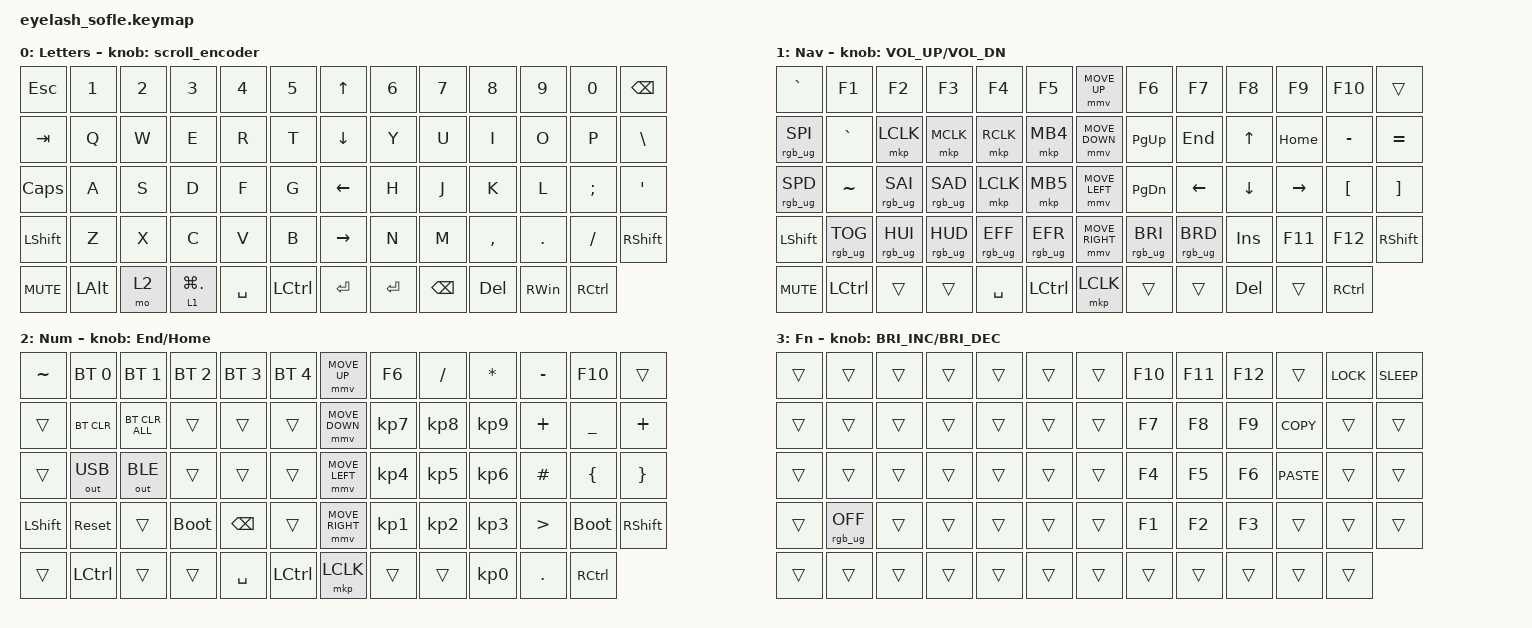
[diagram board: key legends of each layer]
#define ZMK_POINTING_DEFAULT_MOVE_VAL 1200  // 600
#define ZMK_POINTING_DEFAULT_SCRL_VAL 25   // 10

#include <input/processors.dtsi>
#include <zephyr/dt-bindings/input/input-event-codes.h>
#include <behaviors.dtsi>
#include <dt-bindings/zmk/bt.h>
#include <dt-bindings/zmk/keys.h>
#include <dt-bindings/zmk/outputs.h>
#include <dt-bindings/zmk/pointing.h>
#include <dt-bindings/zmk/rgb.h>

&mmv_input_listener { input-processors = <&zip_xy_scaler 2 1>; };

&msc_input_listener { input-processors = <&zip_scroll_scaler 2 1>; };

&msc {
    acceleration-exponent = <1>;      // 0
    time-to-max-speed-ms = <100>;       // 300
    delay-ms = <0>;                   // 0
};

&mmv {
    time-to-max-speed-ms = <500>;
    acceleration-exponent = <1>;
    trigger-period-ms = <16>;
};

/ {
    scroll_encoder: scroll_encoder {
        compatible = "zmk,behavior-sensor-rotate";
        #sensor-binding-cells = <0>;
        bindings = <&msc SCRL_DOWN>, <&msc SCRL_UP>;

        tap-ms = <100>;
    };

    behaviors {
    };

    combos {
        compatible = "zmk,combos";

        layer3 {
            bindings = <&mo 3>;
            key-positions = <54 55>;
        };
    };

    keymap {
        compatible = "zmk,keymap";

        Base {
            bindings = <
&kp ESC     &kp N1        &kp N2  &kp N3            &kp N4     &kp N5              &kp UP_ARROW     &kp N6     &kp N7         &kp N8      &kp N9         &kp N0             &kp BACKSPACE
&kp TAB     &kp Q         &kp W   &kp E             &kp R      &kp T               &kp DOWN_ARROW   &kp Y      &kp U          &kp I       &kp O          &kp P              &kp BSLH
&kp CAPS    &kp A         &kp S   &kp D             &kp F      &kp G               &kp LEFT_ARROW   &kp H      &kp J          &kp K       &kp L          &kp SEMICOLON      &kp APOS
&kp LSHFT   &kp Z         &kp X   &kp C             &kp V      &kp B               &kp RIGHT_ARROW  &kp N      &kp M          &kp COMMA   &kp DOT        &kp FSLH           &kp RIGHT_SHIFT
&kp C_MUTE  &kp LEFT_ALT  &mo 2   &lt 1 LG(PERIOD)  &kp SPACE  &kp LEFT_CONTROL    &kp ENTER        &kp ENTER  &kp BACKSPACE  &kp DELETE  &kp RIGHT_WIN  &kp RIGHT_CONTROL
            >;

            sensor-bindings = <&scroll_encoder>;
            display-name = "Letters";
        };

        Nav {
            bindings = <
&kp GRAVE        &kp F1            &kp F2           &kp F3           &kp F4           &kp F5              &mmv MOVE_UP     &kp F6           &kp F7           &kp F8      &kp F9     &kp F10            &trans
&rgb_ug RGB_SPI  &kp GRAVE         &mkp LCLK        &mkp MCLK        &mkp RCLK        &mkp MB4            &mmv MOVE_DOWN   &kp PG_UP        &kp END          &kp UP      &kp HOME   &kp MINUS          &kp EQUAL
&rgb_ug RGB_SPD  &kp TILDE         &rgb_ug RGB_SAI  &rgb_ug RGB_SAD  &mkp LCLK        &mkp MB5            &mmv MOVE_LEFT   &kp PG_DN        &kp LEFT         &kp DOWN    &kp RIGHT  &kp LEFT_BRACKET   &kp RIGHT_BRACKET
&kp LEFT_SHIFT   &rgb_ug RGB_TOG   &rgb_ug RGB_HUI  &rgb_ug RGB_HUD  &rgb_ug RGB_EFF  &rgb_ug RGB_EFR     &mmv MOVE_RIGHT  &rgb_ug RGB_BRI  &rgb_ug RGB_BRD  &kp INSERT  &kp F11    &kp F12            &kp RIGHT_SHIFT
&kp C_MUTE       &kp LEFT_CONTROL  &trans           &trans           &kp SPACE        &kp LEFT_CONTROL    &mkp LCLK        &trans           &trans           &kp DELETE  &trans     &kp RIGHT_CONTROL
            >;

            display-name = "Nav";
            sensor-bindings = <&inc_dec_kp C_VOLUME_UP C_VOL_DN>;
        };

        Num {
            bindings = <
&kp TILDE       &bt BT_SEL 0      &bt BT_SEL 1    &bt BT_SEL 2  &bt BT_SEL 3   &bt BT_SEL 4        &mmv MOVE_UP     &kp F6           &kp SLASH        &kp ASTERISK     &kp MINUS         &kp F10            &trans
&trans          &bt BT_CLR        &bt BT_CLR_ALL  &trans        &trans         &trans              &mmv MOVE_DOWN   &kp KP_NUMBER_7  &kp KP_NUMBER_8  &kp KP_NUMBER_9  &kp PLUS          &kp UNDER          &kp PLUS
&trans          &out OUT_USB      &out OUT_BLE    &trans        &trans         &trans              &mmv MOVE_LEFT   &kp KP_NUMBER_4  &kp KP_NUMBER_5  &kp KP_NUMBER_6  &kp HASH          &kp LBRC           &kp RBRC
&kp LEFT_SHIFT  &sys_reset        &trans          &bootloader   &kp BACKSPACE  &trans              &mmv MOVE_RIGHT  &kp KP_NUMBER_1  &kp KP_NUMBER_2  &kp KP_NUMBER_3  &kp GREATER_THAN  &bootloader        &kp RIGHT_SHIFT
&trans          &kp LEFT_CONTROL  &trans          &trans        &kp SPACE      &kp LEFT_CONTROL    &mkp LCLK        &trans           &trans           &kp KP_NUMBER_0  &kp PERIOD        &kp RIGHT_CONTROL
            >;

            sensor-bindings = <&inc_dec_kp END HOME>;
            label = "Num";
        };

        Fn {
            bindings = <
&trans  &trans           &trans  &trans  &trans  &trans    &trans  &kp F10  &kp F11  &kp F12  &trans       &kp K_LOCK  &kp K_SLEEP
&trans  &trans           &trans  &trans  &trans  &trans    &trans  &kp F7   &kp F8   &kp F9   &kp K_COPY   &trans      &trans
&trans  &trans           &trans  &trans  &trans  &trans    &trans  &kp F4   &kp F5   &kp F6   &kp K_PASTE  &trans      &trans
&trans  &rgb_ug RGB_OFF  &trans  &trans  &trans  &trans    &trans  &kp F1   &kp F2   &kp F3   &trans       &trans      &trans
&trans  &trans           &trans  &trans  &trans  &trans    &trans  &trans   &trans   &trans   &trans       &trans
            >;

            sensor-bindings = <&inc_dec_kp C_BRIGHTNESS_INC C_BRIGHTNESS_DEC>;
            label = "Fn";
        };
    };
};
